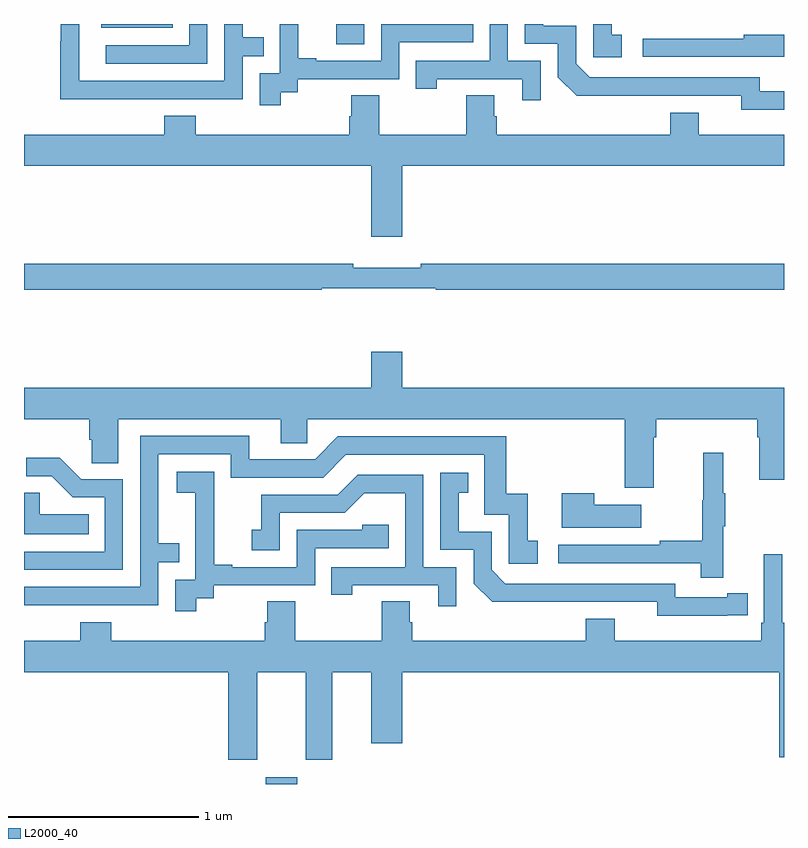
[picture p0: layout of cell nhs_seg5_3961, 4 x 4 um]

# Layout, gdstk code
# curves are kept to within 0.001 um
import gdstk
lib = gdstk.Library(unit=1e-6, precision=1e-09)
def R(c, l, rs):  # rectangles x0, y0, x1, y1
    for r in rs: c.add(gdstk.rectangle(r[:2], r[2:], *l))
def P(c, l, *ps):  # polygons
    for p in ps: c.add(gdstk.Polygon(p, *l))
L2000_40 = (2000, 40)

nhs_seg5_3961 = lib.new_cell('nhs_seg5_3961')
R(nhs_seg5_3961, L2000_40, [(344.273,894.799,344.437,894.835), (344.643,898.692,344.79,898.799), (343.406,898.778,343.784,898.799), (343.005,898.797,343.101,898.799)])
P(nhs_seg5_3961, L2000_40, [(343.965,898.799),(343.869,898.799),(343.869,898.686),(343.431,898.686),(343.431,898.59),(343.965,898.59)],
  [(344.35,898.441),(344.442,898.441),(344.442,898.509),(344.976,898.509),(344.976,898.704),(345.365,898.704),(345.365,898.799),(344.88,898.799),(344.88,898.605),(344.539,898.605),(344.539,898.618),(344.444,898.618),(344.444,898.799),(344.345,898.799),(344.345,898.769),(344.346,898.769),(344.346,898.539),(344.241,898.539),(344.241,898.371),(344.35,898.371)],
  [(346.147,898.743),(346.094,898.743),(346.094,898.799),(345.996,898.799),(345.996,898.623),(346.147,898.623)],
  [(343.655,898.404),(344.151,898.404),(344.151,898.629),(344.261,898.629),(344.261,898.73),(344.151,898.73),(344.151,898.799),(344.055,898.799),(344.055,898.5),(343.29,898.5),(343.29,898.799),(343.194,898.799),(343.194,898.709),(343.192,898.709),(343.192,898.403),(343.655,898.403)],
  [(345.72,898.605),(345.546,898.605),(345.546,898.799),(345.45,898.799),(345.45,898.605),(345.061,898.605),(345.061,898.458),(345.172,898.458),(345.172,898.509),(345.623,898.509),(345.623,898.398),(345.72,898.398)],
  [(347,898.446),(346.872,898.446),(346.872,898.518),(345.978,898.518),(345.906,898.59),(345.906,898.791),(345.733,898.791),(345.733,898.799),(345.636,898.799),(345.636,898.695),(345.81,898.695),(345.81,898.518),(345.908,898.421),(346.776,898.422),(346.776,898.349),(347,898.349)],
  [(347,898.742),(346.789,898.742),(346.789,898.722),(346.257,898.722),(346.257,898.626),(347,898.626)],
  [(344.992,898.052),(347,898.052),(347,898.216),(346.552,898.216),(346.552,898.333),(346.4,898.333),(346.4,898.216),(345.488,898.216),(345.488,898.314),(345.475,898.314),(345.475,898.424),(345.328,898.424),(345.328,898.216),(344.871,898.216),(344.871,898.424),(344.723,898.424),(344.723,898.314),(344.711,898.314),(344.711,898.216),(343.904,898.216),(343.904,898.315),(343.739,898.315),(343.739,898.216),(343,898.216),(343,898.052),(344.828,898.052),(344.828,897.678),(344.992,897.678)],
  [(344.566,897.408),(345.166,897.408),(345.166,897.4),(347,897.4),(347,897.536),(345.088,897.536),(345.088,897.517),(344.732,897.517),(344.732,897.536),(343,897.536),(343,897.4),(344.566,897.4)],
  [(346.315,896.624),(346.328,896.624),(346.328,896.72),(346.859,896.72),(346.859,896.624),(346.871,896.624),(346.871,896.4),(347,896.4),(347,896.884),(344.992,896.884),(344.992,897.073),(344.828,897.073),(344.828,896.884),(343,896.884),(343,896.72),(343.343,896.72),(343.343,896.611),(343.356,896.611),(343.356,896.488),(343.495,896.488),(343.495,896.72),(344.351,896.72),(344.351,896.593),(344.49,896.593),(344.49,896.72),(346.163,896.72),(346.163,896.358),(346.315,896.358)],
  [(343.211,895.74),(343.707,895.74),(343.707,895.965),(343.817,895.965),(343.817,896.066),(343.707,896.066),(343.707,896.535),(344.088,896.535),(344.088,896.412),(344.574,896.412),(344.694,896.532),(345.423,896.532),(345.423,896.217),(345.552,896.217),(345.552,895.959),(345.703,895.959),(345.703,896.079),(345.65,896.079),(345.65,896.326),(345.539,896.326),(345.539,896.628),(344.652,896.628),(344.532,896.508),(344.185,896.508),(344.185,896.631),(343.611,896.631),(343.611,895.836),(343,895.836),(343,895.739)],
  [(346.679,896.155),(346.69,896.155),(346.69,896.329),(346.679,896.329),(346.679,896.542),(346.576,896.542),(346.576,896.292),(346.569,896.292),(346.569,896.078),(346.345,896.078),(346.345,896.058),(345.813,896.058),(345.813,895.962),(346.561,895.962),(346.561,895.884),(346.679,895.884)],
  [(343.521,896.403),(343.302,896.403),(343.189,896.516),(343.011,896.516),(343.011,896.418),(343.145,896.418),(343.256,896.307),(343.425,896.307),(343.425,896.022),(343,896.022),(343,895.926),(343.521,895.926)],
  [(343.906,895.777),(343.998,895.777),(343.998,895.845),(344.532,895.845),(344.532,896.04),(344.921,896.04),(344.921,896.163),(344.781,896.163),(344.781,896.136),(344.436,896.136),(344.436,895.941),(344.095,895.941),(344.095,895.954),(344,895.954),(344,896.237),(344.001,896.237),(344.001,896.443),(343.803,896.443),(343.803,896.333),(343.901,896.333),(343.901,896.105),(343.902,896.105),(343.902,895.875),(343.797,895.875),(343.797,895.707),(343.906,895.707)],
  [(346.7,895.686),(346.808,895.686),(346.808,895.802),(346.7,895.802),(346.7,895.782),(346.428,895.782),(346.428,895.854),(345.534,895.854),(345.462,895.926),(345.462,896.127),(345.289,896.127),(345.289,896.331),(345.338,896.331),(345.338,896.437),(345.192,896.437),(345.192,896.031),(345.366,896.031),(345.366,895.854),(345.464,895.757),(346.332,895.758),(346.332,895.685)],
  [(345.276,895.941),(345.102,895.941),(345.102,896.427),(344.756,896.427),(344.651,896.322),(344.248,896.322),(344.248,896.137),(344.199,896.137),(344.199,896.028),(344.346,896.028),(344.346,896.226),(344.688,896.226),(344.792,896.33),(345.006,896.33),(345.006,895.941),(344.617,895.941),(344.617,895.794),(344.728,895.794),(344.728,895.845),(345.179,895.845),(345.179,895.734),(345.276,895.734)],
  [(343.34,896.218),(343.083,896.218),(343.083,896.333),(343,896.333),(343,896.114),(343.34,896.114)],
  [(346.249,896.269),(346.001,896.269),(346.001,896.329),(345.83,896.329),(345.83,896.147),(346.249,896.147)],
  [(344.227,895.388),(344.483,895.388),(344.483,894.927),(344.623,894.927),(344.623,895.388),(344.828,895.388),(344.828,895.014),(344.992,895.014),(344.992,895.388),(346.974,895.388),(346.974,894.939),(347,894.939),(347,895.648),(346.99,895.648),(346.99,896.008),(346.893,896.008),(346.893,895.648),(346.88,895.648),(346.88,895.552),(346.108,895.552),(346.108,895.669),(345.956,895.669),(345.956,895.552),(345.044,895.552),(345.044,895.65),(345.031,895.65),(345.031,895.76),(344.884,895.76),(344.884,895.552),(344.427,895.552),(344.427,895.76),(344.279,895.76),(344.279,895.65),(344.267,895.65),(344.267,895.552),(343.46,895.552),(343.46,895.651),(343.295,895.651),(343.295,895.552),(343,895.552),(343,895.388),(344.075,895.388),(344.075,894.927),(344.227,894.927)])

lib.write_gds('nhs_seg5_3961.gds')
